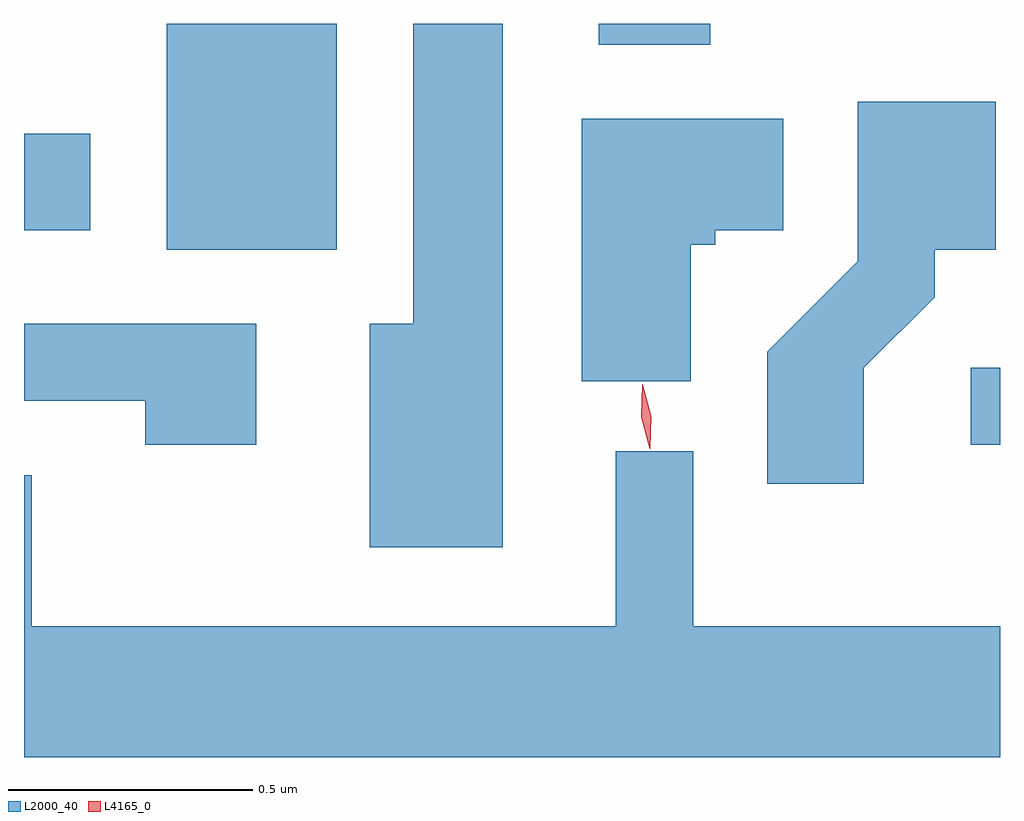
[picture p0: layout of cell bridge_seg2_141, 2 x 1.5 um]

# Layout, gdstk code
import gdstk
lib = gdstk.Library(unit=1e-6, precision=1e-09)
def R(c, l, rs):  # rectangles x0, y0, x1, y1
    for r in rs: c.add(gdstk.rectangle(r[:2], r[2:], *l))
def P(c, l, *ps):  # polygons
    for p in ps: c.add(gdstk.Polygon(p, *l))
L2000_40 = (2000, 40)
L4165_0 = (4165, 0)

bridge_seg2_141 = lib.new_cell('bridge_seg2_141')
R(bridge_seg2_141, L2000_40, [(989.013,1046.736,989.073,1046.894), (987.366,1047.136,987.714,1047.599), (987.073,1047.176,987.209,1047.374), (988.251,1047.556,988.479,1047.599)])
P(bridge_seg2_141, L2000_40, [(988.054,1047.599),(987.871,1047.599),(987.871,1046.984),(987.781,1046.984),(987.781,1046.526),(988.054,1046.526)],
  [(988.794,1046.894),(988.939,1047.039),(988.939,1047.136),(989.064,1047.136),(989.064,1047.439),(988.781,1047.439),(988.781,1047.112),(988.596,1046.927),(988.596,1046.656),(988.794,1046.656)],
  [(988.439,1047.146),(988.489,1047.146),(988.489,1047.176),(988.629,1047.176),(988.629,1047.404),(988.216,1047.404),(988.216,1046.866),(988.439,1046.866)],
  [(987.549,1046.984),(987.073,1046.984),(987.073,1046.826),(987.321,1046.826),(987.321,1046.736),(987.549,1046.736)],
  [(989.073,1046.364),(988.444,1046.364),(988.444,1046.723),(988.286,1046.723),(988.286,1046.364),(987.089,1046.364),(987.089,1046.674),(987.073,1046.674),(987.073,1046.096),(989.073,1046.096)])
P(bridge_seg2_141, L4165_0, [(988.355,1046.728),(988.338,1046.793),(988.34,1046.859),(988.341,1046.86),(988.341,1046.859),(988.358,1046.795),(988.356,1046.728),(988.356,1046.728)])

lib.write_gds('bridge_seg2_141.gds')
